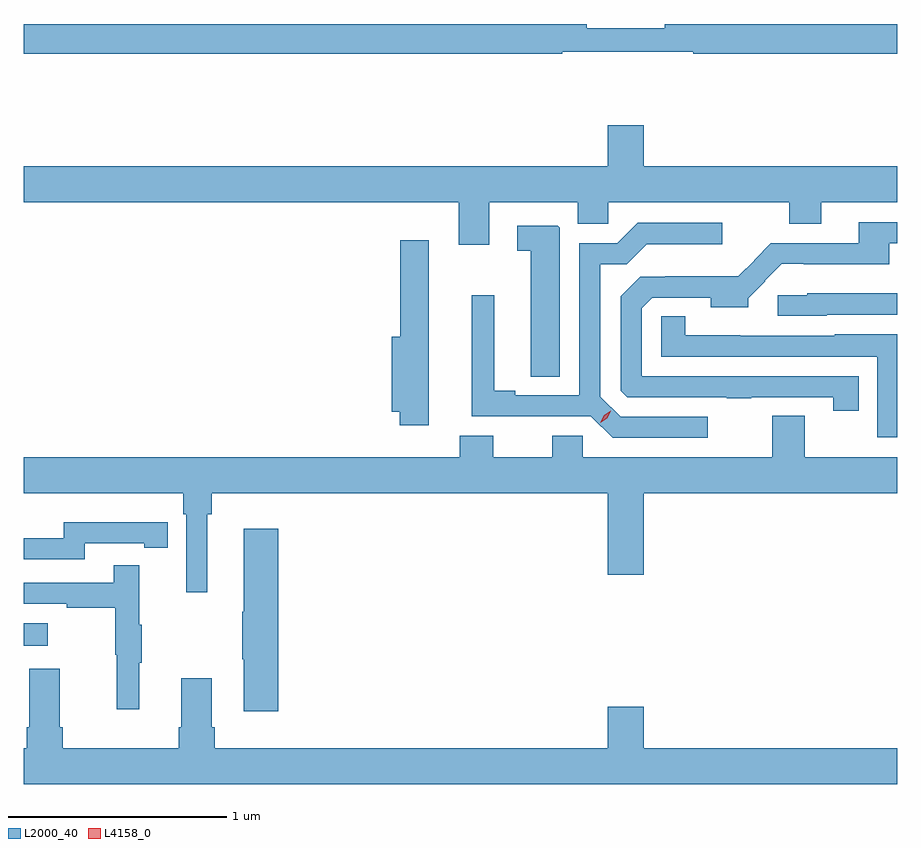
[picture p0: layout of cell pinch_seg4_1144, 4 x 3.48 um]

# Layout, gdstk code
import gdstk
lib = gdstk.Library(unit=1e-6, precision=1e-09)
def R(c, l, rs):  # rectangles x0, y0, x1, y1
    for r in rs: c.add(gdstk.rectangle(r[:2], r[2:], *l))
def P(c, l, *ps):  # polygons
    for p in ps: c.add(gdstk.Polygon(p, *l))
L2000_40 = (2000, 40)
L4158_0 = (4158, 0)

pinch_seg4_1144 = lib.new_cell('pinch_seg4_1144')
R(pinch_seg4_1144, L2000_40, [(438.057,753.497,438.166,753.601)])
P(pinch_seg4_1144, L2000_40, [(440.522,756.216),(441.122,756.216),(441.122,756.208),(442.057,756.208),(442.057,756.344),(440.992,756.344),(440.992,756.325),(440.636,756.325),(440.636,756.344),(438.057,756.344),(438.057,756.208),(440.522,756.208)],
  [(440.188,755.528),(440.594,755.528),(440.594,755.43),(440.733,755.43),(440.733,755.528),(441.562,755.528),(441.562,755.429),(441.709,755.429),(441.709,755.528),(442.057,755.528),(442.057,755.692),(440.896,755.692),(440.896,755.881),(440.732,755.881),(440.732,755.692),(438.057,755.692),(438.057,755.528),(440.048,755.528),(440.048,755.334),(440.188,755.334)],
  [(441.881,754.731),(440.886,754.731),(440.886,755.043),(440.934,755.091),(441.203,755.091),(441.203,755.048),(441.374,755.048),(441.374,755.088),(441.453,755.166),(441.45,755.169),(441.527,755.246),(441.628,755.246),(441.628,755.243),(442.021,755.243),(442.021,755.34),(442.057,755.34),(442.057,755.436),(441.881,755.436),(441.881,755.34),(441.477,755.34),(441.401,755.263),(441.403,755.261),(441.329,755.188),(440.995,755.188),(440.995,755.186),(440.879,755.186),(440.79,755.097),(440.79,754.665),(440.82,754.635),(441.277,754.635),(441.277,754.63),(441.389,754.63),(441.389,754.635),(441.763,754.635),(441.763,754.572),(441.881,754.572)],
  [(441.19,754.545),(440.79,754.545),(440.697,754.638),(440.697,755.245),(440.818,755.245),(440.909,755.336),(441.256,755.336),(441.256,755.433),(440.868,755.433),(440.775,755.34),(440.601,755.34),(440.601,754.644),(440.308,754.644),(440.308,754.664),(440.212,754.664),(440.212,755.101),(440.108,755.101),(440.108,754.548),(440.654,754.548),(440.753,754.449),(441.19,754.449)],
  [(440.512,755.411),(440.502,755.421),(440.316,755.421),(440.316,755.305),(440.378,755.305),(440.378,754.729),(440.512,754.729)],
  [(439.912,755.353),(439.781,755.353),(439.781,754.912),(439.742,754.912),(439.742,754.568),(439.778,754.568),(439.778,754.506),(439.912,754.506)],
  [(441.735,755.013),(442.057,755.013),(442.057,755.11),(441.645,755.11),(441.645,755.103),(441.51,755.103),(441.51,755.007),(441.735,755.007)],
  [(442.057,754.924),(441.771,754.924),(441.771,754.917),(441.339,754.917),(441.339,754.918),(441.085,754.918),(441.085,755.006),(440.976,755.006),(440.976,754.821),(441.966,754.821),(441.966,754.452),(442.057,754.452)],
  [(438.898,754.1),(438.917,754.1),(438.917,754.196),(440.732,754.196),(440.732,753.822),(440.896,753.822),(440.896,754.196),(442.057,754.196),(442.057,754.36),(441.633,754.36),(441.633,754.55),(441.485,754.55),(441.485,754.36),(440.616,754.36),(440.616,754.458),(440.477,754.458),(440.477,754.36),(440.206,754.36),(440.206,754.459),(440.054,754.459),(440.054,754.36),(438.057,754.36),(438.057,754.196),(438.788,754.196),(438.788,754.1),(438.801,754.1),(438.801,753.741),(438.898,753.741)],
  [(438.336,753.966),(438.608,753.966),(438.608,753.946),(438.716,753.946),(438.716,754.062),(438.608,754.062),(438.608,754.063),(438.24,754.063),(438.24,753.99),(438.057,753.99),(438.057,753.894),(438.336,753.894)],
  [(439.223,754.033),(439.064,754.033),(439.064,753.653),(439.057,753.653),(439.057,753.436),(439.064,753.436),(439.064,753.198),(439.223,753.198)],
  [(438.587,753.419),(438.598,753.419),(438.598,753.593),(438.587,753.593),(438.587,753.865),(438.469,753.865),(438.469,753.786),(438.057,753.786),(438.057,753.69),(438.253,753.69),(438.253,753.67),(438.477,753.67),(438.477,753.456),(438.484,753.456),(438.484,753.207),(438.587,753.207)],
  [(442.057,753.028),(440.896,753.028),(440.896,753.217),(440.732,753.217),(440.732,753.028),(438.932,753.028),(438.932,753.124),(438.919,753.124),(438.919,753.349),(438.779,753.349),(438.779,753.124),(438.767,753.124),(438.767,753.028),(438.236,753.028),(438.236,753.124),(438.223,753.124),(438.223,753.391),(438.083,753.391),(438.083,753.124),(438.071,753.124),(438.071,753.028),(438.057,753.028),(438.057,752.864),(442.057,752.864)])
P(pinch_seg4_1144, L4158_0, [(440.698,754.519),(440.698,754.519),(440.715,754.553),(440.746,754.573),(440.746,754.573),(440.746,754.573),(440.73,754.539),(440.698,754.519)])

lib.write_gds('pinch_seg4_1144.gds')
